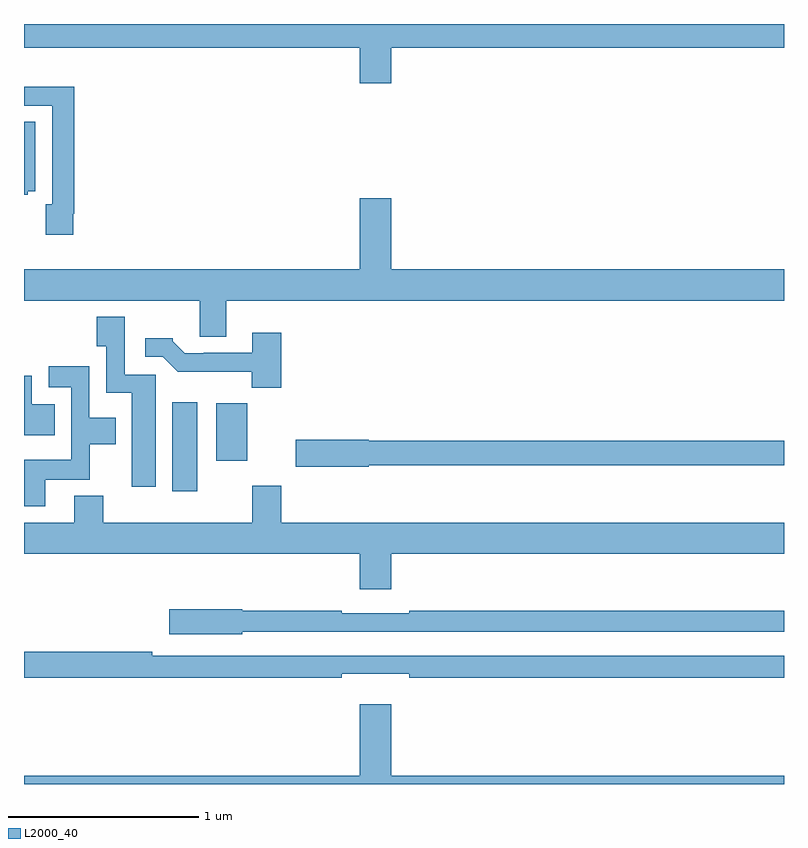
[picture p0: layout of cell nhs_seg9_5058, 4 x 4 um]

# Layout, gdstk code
import gdstk
lib = gdstk.Library(unit=1e-6, precision=1e-09)
def R(c, l, rs):  # rectangles x0, y0, x1, y1
    for r in rs: c.add(gdstk.rectangle(r[:2], r[2:], *l))
def P(c, l, *ps):  # polygons
    for p in ps: c.add(gdstk.Polygon(p, *l))
L2000_40 = (2000, 40)

nhs_seg9_5058 = lib.new_cell('nhs_seg9_5058')
R(nhs_seg9_5058, L2000_40, [(403.781,1238.04,403.912,1238.509)])
P(nhs_seg9_5058, L2000_40, [(404.932,1240.376),(407,1240.376),(407,1240.5),(403,1240.5),(403,1240.376),(404.768,1240.376),(404.768,1240.188),(404.932,1240.188)],
  [(403.258,1239.502),(403.265,1239.502),(403.265,1240.171),(403,1240.171),(403,1240.071),(403.149,1240.071),(403.149,1239.551),(403.115,1239.551),(403.115,1239.39),(403.258,1239.39)],
  [(403.02,1239.62),(403.06,1239.62),(403.06,1239.986),(403,1239.986),(403,1239.602),(403.02,1239.602)],
  [(404.065,1239.044),(407,1239.044),(407,1239.208),(404.932,1239.208),(404.932,1239.583),(404.768,1239.583),(404.768,1239.208),(403,1239.208),(403,1239.044),(403.925,1239.044),(403.925,1238.854),(404.065,1238.854)],
  [(403.693,1238.655),(403.53,1238.655),(403.53,1238.959),(403.382,1238.959),(403.382,1238.803),(403.434,1238.803),(403.434,1238.558),(403.568,1238.558),(403.568,1238.064),(403.693,1238.064)],
  [(404.354,1238.875),(404.201,1238.875),(404.201,1238.769),(403.945,1238.769),(403.945,1238.766),(403.846,1238.766),(403.782,1238.83),(403.782,1238.845),(403.638,1238.845),(403.638,1238.748),(403.731,1238.748),(403.81,1238.67),(404.199,1238.67),(404.199,1238.585),(404.354,1238.585)],
  [(403.111,1238.102),(403.347,1238.102),(403.347,1238.288),(403.483,1238.288),(403.483,1238.428),(403.344,1238.428),(403.344,1238.698),(403.131,1238.698),(403.131,1238.589),(403.248,1238.589),(403.248,1238.206),(403,1238.206),(403,1237.962),(403.111,1237.962)],
  [(403.163,1238.5),(403.042,1238.5),(403.042,1238.65),(403,1238.65),(403,1238.336),(403.163,1238.336)],
  [(404.176,1238.355),(404.174,1238.355),(404.174,1238.503),(404.012,1238.503),(404.012,1238.202),(404.176,1238.202)],
  [(404.814,1238.178),(407,1238.178),(407,1238.306),(404.814,1238.306),(404.814,1238.312),(404.43,1238.312),(404.43,1238.17),(404.814,1238.17)],
  [(404.932,1237.712),(407,1237.712),(407,1237.876),(404.354,1237.876),(404.354,1238.071),(404.201,1238.071),(404.201,1237.876),(403.418,1237.876),(403.418,1238.017),(403.265,1238.017),(403.265,1237.876),(403,1237.876),(403,1237.712),(404.768,1237.712),(404.768,1237.524),(404.932,1237.524)],
  [(404.148,1237.302),(407,1237.302),(407,1237.411),(405.028,1237.411),(405.028,1237.398),(404.672,1237.398),(404.672,1237.411),(404.148,1237.411),(404.148,1237.419),(403.764,1237.419),(403.764,1237.289),(404.148,1237.289)],
  [(404.672,1237.079),(405.028,1237.079),(405.028,1237.06),(407,1237.06),(407,1237.176),(403.676,1237.176),(403.676,1237.196),(403,1237.196),(403,1237.06),(404.672,1237.06)],
  [(407,1236.544),(404.932,1236.544),(404.932,1236.919),(404.768,1236.919),(404.768,1236.544),(403,1236.544),(403,1236.5),(407,1236.5)])

lib.write_gds('nhs_seg9_5058.gds')
